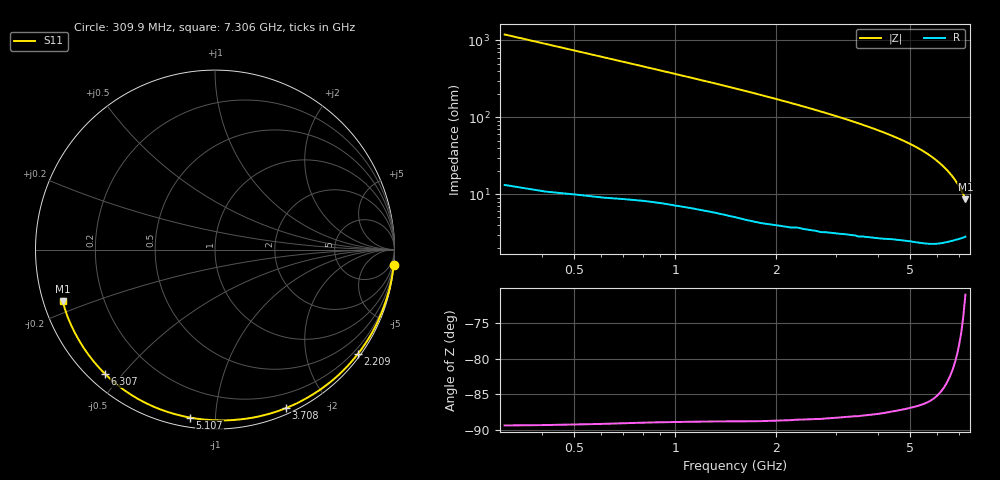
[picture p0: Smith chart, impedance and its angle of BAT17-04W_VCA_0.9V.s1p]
! Infineon Technologies  Discrete & RF Semiconductors
! BAT17-04W
! VCA = 0.9 V
! One-Port S-Parameters
# Hz  S  MA  R  50
!f  S11
!Hz  Mag  Ang
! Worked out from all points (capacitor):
!   71 points, 309.9 MHz to 7.306 GHz, reference 50 ohm
!   read as one part to ground: C = 429 fF near 309.9 MHz
!   lowest |Z| = 8.63 ohm at 7.306 GHz (marker M1)
!   S11 on the Smith chart (normalised r, x): 309.9 MHz: 0, -24; 2.209 GHz: 0.07, -3.08; 3.708 GHz: 0.06, -1.54; 5.107 GHz: 0.05, -0.86; 6.307 GHz: 0.05, -0.45; 7.306 GHz: 0.06, -0.16
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3.0985e8  0.9991 -4.8
7.0965e8  0.9969 -11.0
1.2094e9  0.9934 -18.8
1.50925e9  0.9915 -23.8
1.70915e9  0.9903 -27.1
2.10895e9  0.9869 -34.2
2.2089e9  0.9859 -36.0
2.6087e9  0.9817 -43.5
3.0085e9  0.9769 -51.4
3.4083e9  0.9715 -59.5
3.70815e9  0.9675 -65.9
3.8081e9  0.966 -68.1
4.008e9  0.9631 -72.5
4.2079e9  0.9599 -77.0
4.50775e9  0.9548 -83.9
4.70765e9  0.9517 -88.6
4.90755e9  0.9489 -93.5
5.10745e9  0.9461 -98.4
5.4073e9  0.9422 -106.2
5.6072e9  0.9394 -111.5
5.90705e9  0.9343 -119.9
6.10695e9  0.9299 -125.6
6.30685e9  0.9248 -131.4
6.50675e9  0.9193 -137.3
6.70665e9  0.9138 -143.3
6.90655e9  0.9082 -149.2
7.10645e9  0.9028 -155.3
7.30635e9  0.8962 -161.4
